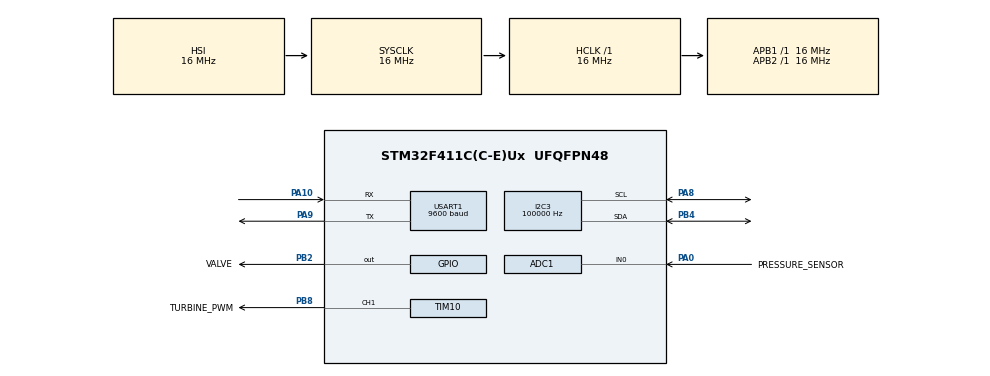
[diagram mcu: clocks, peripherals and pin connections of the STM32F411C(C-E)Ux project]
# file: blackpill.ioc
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ADC1.Channel-0\#ChannelRegularConversion=ADC_CHANNEL_0
ADC1.ContinuousConvMode=ENABLE
ADC1.DMAContinuousRequests=ENABLE
ADC1.NbrOfConversionFlag=1
ADC1.Rank-0\#ChannelRegularConversion=1
ADC1.SamplingTime-0\#ChannelRegularConversion=ADC_SAMPLETIME_3CYCLES
ADC1.master=1
Dma.ADC1.0.Direction=DMA_PERIPH_TO_MEMORY
Dma.ADC1.0.FIFOMode=DMA_FIFOMODE_DISABLE
Dma.ADC1.0.Instance=DMA2_Stream0
Dma.ADC1.0.MemDataAlignment=DMA_MDATAALIGN_HALFWORD
Dma.ADC1.0.MemInc=DMA_MINC_ENABLE
Dma.ADC1.0.Mode=DMA_CIRCULAR
Dma.ADC1.0.PeriphDataAlignment=DMA_PDATAALIGN_HALFWORD
Dma.ADC1.0.PeriphInc=DMA_PINC_DISABLE
Dma.ADC1.0.Priority=DMA_PRIORITY_LOW
Dma.Request0=ADC1
I2C3.ClockSpeed=100000
I2C3.I2C_Mode=I2C_Standard
Mcu.Family=STM32F4
Mcu.Name=STM32F411C(C-E)Ux
Mcu.Package=UFQFPN48
NVIC.DMA2_Stream0_IRQn=true\:0\:0\:false\:false\:true\:false\:true\:true
NVIC.PriorityGroup=NVIC_PRIORITYGROUP_4
NVIC.TIM1_TRG_COM_TIM11_IRQn=true\:0\:0\:false\:false\:true\:true\:true\:true
NVIC.USART1_IRQn=true\:0\:0\:false\:false\:true\:true\:true\:true
PA0-WKUP.GPIO_Label=PRESSURE_SENSOR
PA0-WKUP.Signal=ADCx_IN0
PA10.Mode=Asynchronous
PA10.Signal=USART1_RX
PA8.GPIO_Pu=GPIO_PULLUP
PA8.Mode=I2C
PA8.Signal=I2C3_SCL
PA9.Mode=Asynchronous
PA9.Signal=USART1_TX
PB2.GPIO_Label=VALVE
PB2.Signal=GPIO_Output
PB4.GPIO_Pu=GPIO_PULLUP
PB4.Mode=I2C
PB4.Signal=I2C3_SDA
PB8.GPIO_Label=TURBINE_PWM
PB8.Signal=S_TIM10_CH1
ProjectManager.HeapSize=0x200
ProjectManager.StackSize=0x400
ProjectManager.TargetToolchain=STM32CubeIDE
RCC.AHBFreq_Value=16000000
RCC.APB1Freq_Value=16000000
RCC.APB2Freq_Value=16000000
RCC.CortexFreq_Value=16000000
RCC.HSE_VALUE=25000000
RCC.HSI_VALUE=16000000
RCC.LSE_VALUE=32768
RCC.SYSCLKFreq_VALUE=16000000
RCC.VCOOutputFreq_Value=192000000
SH.ADCx_IN0.0=ADC1_IN0,IN0
SH.S_TIM10_CH1.0=TIM10_CH1,PWM Generation1 CH1
TIM10.Channel=TIM_CHANNEL_1
TIM10.Period=100-1
TIM11.Period=100-1
TIM11.Prescaler=100-1
USART1.BaudRate=9600
USART1.Parity=PARITY_NONE
USART1.VirtualMode=VM_ASYNC
VP_TIM10_VS_ClockSourceINT.Mode=Enable_Timer
VP_TIM11_VS_ClockSourceINT.Mode=Enable_Timer
board=custom

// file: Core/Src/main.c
/* USER CODE BEGIN Header */
/**
  ******************************************************************************
  * @file           : main.c
  * @brief          : Main program body
  ******************************************************************************
  * @attention
  *
  * Copyright (c) 2023 STMicroelectronics.
  * All rights reserved.
  *
  * This software is licensed under terms that can be found in the LICENSE file
  * in the root directory of this software component.
  * If no LICENSE file comes with this software, it is provided AS-IS.
  *
  ******************************************************************************
  */
/* USER CODE END Header */
#include "main.h"

/* USER CODE BEGIN Includes */
#include <string.h>
#include <stdio.h>
#include <PID.h>
/* USER CODE END Includes */

/* USER CODE BEGIN PD */
#define MS_TO_M 60000 // for converting to flow rate from miliseconds to minutes [slm]

// pressure sensor
#define ADC_BUF_LEN 100
#define m 0.0634 //calibration slope for pressure sensor -> m = (bar_max - bar_min)/(V_max-V_min)
#define DEFAULT_MIN_PRESSURE 10
#define DEFAULT_MAX_PRESSURE 50

// turbine control
#define PID_KP 4 //22
#define PID_KI 0.0026 //0.005699
#define PID_KD 0.009 //0.0046

// flow sensor
#define ADDR 64<<1
#define OFFSET_FLOW 32768
#define SCALE_FLOW 120
/* USER CODE END PD */

ADC_HandleTypeDef hadc1;
DMA_HandleTypeDef hdma_adc1;

I2C_HandleTypeDef hi2c3;

TIM_HandleTypeDef htim10;
TIM_HandleTypeDef htim11;

UART_HandleTypeDef huart1;

/* USER CODE BEGIN PV */
// pressure sensor
uint16_t adc_buf[ADC_BUF_LEN]; // TODO: check if DMA is still necessary
float adcSum;
float adcVoltage;
float adcAverage;
float pressureBar;
float pressureCmH2O;
int adcCounter = 0;

// breath control
int breathCounter = 1;
int inhaleTime = 2500;
int exhaleTime = 2000;

// turbine control
pid_data pidData;
float pwmSpeed;

// flow sensor
uint8_t i2cTransmitBuf[2] = {0x10, 0x00};
uint8_t i2cReceiveBuf[2];
float flowSLM;
float flowRate = 1;

// UART communication with Raspberry Pi
uint8_t receive[7];
uint8_t transmit[3];
uint8_t mode;
const uint8_t indicator = 255;
/* USER CODE END PV */

void SystemClock_Config(void);
static void MX_GPIO_Init(void);
static void MX_DMA_Init(void);
static void MX_ADC1_Init(void);
static void MX_TIM10_Init(void);
static void MX_TIM11_Init(void);
static void MX_I2C3_Init(void);
static void MX_USART1_UART_Init(void);
/* USER CODE BEGIN PFP */

void safetyCheck(double pressure, double minPressure, double maxPressure) {
    if (pressure < minPressure) {
        pwmSpeed++;
    } else if (pressure > maxPressure) {
        pwmSpeed--;
    }
}

void pressureMode(void){
		//breath control logic
		if(breathCounter == inhaleTime)	//start of exhale phase
		{
			pwmSpeed = 0;
			__HAL_TIM_SET_COMPARE(&htim10, TIM_CHANNEL_1, (uint16_t)pwmSpeed);
			HAL_GPIO_WritePin(GPIOB, VALVE_Pin, 0);	//open valve
			breathCounter++;

			pid_reset(&pidData);
		}
		else if (breathCounter == (inhaleTime + exhaleTime))	//start of inhale phase
		{
			HAL_GPIO_WritePin(GPIOB, VALVE_Pin, 1);	//close valve
			breathCounter = 0;
		}
		else
		{
			if(breathCounter < inhaleTime)	// in inhale phase
			{
				pwmSpeed = pid_calculate(&pidData, 40, pressureCmH2O);
				__HAL_TIM_SET_COMPARE(&htim10, TIM_CHANNEL_1, (uint16_t)pwmSpeed);
			}
			breathCounter++;
		}
}

void flowMode(void){
	flowRate = (1/inhaleTime)*MS_TO_M; // flow rate = (Volume[L] / Inhale Time[ms]) * 60000
	if(breathCounter == inhaleTime)	//start of exhale phase
			{
				pwmSpeed = 0;
				__HAL_TIM_SET_COMPARE(&htim10, TIM_CHANNEL_1, (uint16_t)pwmSpeed);
				HAL_GPIO_WritePin(GPIOB, VALVE_Pin, 0);	//open valve
				breathCounter++;

				pid_reset(&pidData);
			}
			else if (breathCounter == (inhaleTime + exhaleTime))	//start of inhale phase
			{
				HAL_GPIO_WritePin(GPIOB, VALVE_Pin, 1);	//close valve
				breathCounter = 0;
			}
			else
			{
				if(breathCounter < inhaleTime)	// in inhale phase
				{
					pwmSpeed = pid_calculate(&pidData, flowRate, flowSLM);
					__HAL_TIM_SET_COMPARE(&htim10, TIM_CHANNEL_1, (uint16_t)pwmSpeed);
				}
				breathCounter++;
			}
}

/* USER CODE END PFP */

int main(void)
{

  /* MCU Configuration--------------------------------------------------------*/

  /* Reset of all peripherals, Initializes the Flash interface and the Systick. */
  HAL_Init();

  /* USER CODE BEGIN Init */
  pid_init(&pidData, PID_KP, PID_KI, PID_KD, 0);
  /* USER CODE END Init */

  /* Configure the system clock */
  SystemClock_Config();

  /* Initialize all configured peripherals */
  MX_GPIO_Init();
  MX_DMA_Init();
  MX_ADC1_Init();
  MX_TIM10_Init();
  MX_TIM11_Init();
  MX_I2C3_Init();
  MX_USART1_UART_Init();
  /* USER CODE BEGIN 2 */
  HAL_ADC_Start_DMA(&hadc1, (uint32_t*)adc_buf, ADC_BUF_LEN);
  HAL_TIM_PWM_Start(&htim10, TIM_CHANNEL_1);
  HAL_TIM_Base_Start_IT(&htim11);

  HAL_GPIO_WritePin(GPIOB, VALVE_Pin, 1);

  HAL_I2C_Master_Transmit(&hi2c3, ADDR, i2cTransmitBuf, sizeof(i2cTransmitBuf), HAL_MAX_DELAY);
  transmit[0] = indicator;
  HAL_UART_Transmit_IT(&huart1, transmit, sizeof(transmit));
  HAL_UART_Receive_IT(&huart1, receive, sizeof(receive));
  /* USER CODE END 2 */

  /* Infinite loop */
  while (1)
  {

  }
}

void SystemClock_Config(void)
{
  RCC_OscInitTypeDef RCC_OscInitStruct = {0};
  RCC_ClkInitTypeDef RCC_ClkInitStruct = {0};

  /** Configure the main internal regulator output voltage
  */
  __HAL_RCC_PWR_CLK_ENABLE();
  __HAL_PWR_VOLTAGESCALING_CONFIG(PWR_REGULATOR_VOLTAGE_SCALE1);

  /** Initializes the RCC Oscillators according to the specified parameters
  * in the RCC_OscInitTypeDef structure.
  */
  RCC_OscInitStruct.OscillatorType = RCC_OSCILLATORTYPE_HSI;
  RCC_OscInitStruct.HSIState = RCC_HSI_ON;
  RCC_OscInitStruct.HSICalibrationValue = RCC_HSICALIBRATION_DEFAULT;
  RCC_OscInitStruct.PLL.PLLState = RCC_PLL_NONE;
  if (HAL_RCC_OscConfig(&RCC_OscInitStruct) != HAL_OK)
  {
    Error_Handler();
  }

  /** Initializes the CPU, AHB and APB buses clocks
  */
  RCC_ClkInitStruct.ClockType = RCC_CLOCKTYPE_HCLK|RCC_CLOCKTYPE_SYSCLK
                              |RCC_CLOCKTYPE_PCLK1|RCC_CLOCKTYPE_PCLK2;
  RCC_ClkInitStruct.SYSCLKSource = RCC_SYSCLKSOURCE_HSI;
  RCC_ClkInitStruct.AHBCLKDivider = RCC_SYSCLK_DIV1;
  RCC_ClkInitStruct.APB1CLKDivider = RCC_HCLK_DIV1;
  RCC_ClkInitStruct.APB2CLKDivider = RCC_HCLK_DIV1;

  if (HAL_RCC_ClockConfig(&RCC_ClkInitStruct, FLASH_LATENCY_0) != HAL_OK)
  {
    Error_Handler();
  }
}

static void MX_ADC1_Init(void)
{

  ADC_ChannelConfTypeDef sConfig = {0};

  /** Configure the global features of the ADC (Clock, Resolution, Data Alignment and number of conversion)
  */
  hadc1.Instance = ADC1;
  hadc1.Init.ClockPrescaler = ADC_CLOCK_SYNC_PCLK_DIV2;
  hadc1.Init.Resolution = ADC_RESOLUTION_12B;
  hadc1.Init.ScanConvMode = DISABLE;
  hadc1.Init.ContinuousConvMode = ENABLE;
  hadc1.Init.DiscontinuousConvMode = DISABLE;
  hadc1.Init.ExternalTrigConvEdge = ADC_EXTERNALTRIGCONVEDGE_NONE;
  hadc1.Init.ExternalTrigConv = ADC_SOFTWARE_START;
  hadc1.Init.DataAlign = ADC_DATAALIGN_RIGHT;
  hadc1.Init.NbrOfConversion = 1;
  hadc1.Init.DMAContinuousRequests = ENABLE;
  hadc1.Init.EOCSelection = ADC_EOC_SINGLE_CONV;
  if (HAL_ADC_Init(&hadc1) != HAL_OK)
  {
    Error_Handler();
  }

  /** Configure for the selected ADC regular channel its corresponding rank in the sequencer and its sample time.
  */
  sConfig.Channel = ADC_CHANNEL_0;
  sConfig.Rank = 1;
  sConfig.SamplingTime = ADC_SAMPLETIME_3CYCLES;
  if (HAL_ADC_ConfigChannel(&hadc1, &sConfig) != HAL_OK)
  {
    Error_Handler();
  }

}

static void MX_I2C3_Init(void)
{

  hi2c3.Instance = I2C3;
  hi2c3.Init.ClockSpeed = 100000;
  hi2c3.Init.DutyCycle = I2C_DUTYCYCLE_2;
  hi2c3.Init.OwnAddress1 = 0;
  hi2c3.Init.AddressingMode = I2C_ADDRESSINGMODE_7BIT;
  hi2c3.Init.DualAddressMode = I2C_DUALADDRESS_DISABLE;
  hi2c3.Init.OwnAddress2 = 0;
  hi2c3.Init.GeneralCallMode = I2C_GENERALCALL_DISABLE;
  hi2c3.Init.NoStretchMode = I2C_NOSTRETCH_DISABLE;
  if (HAL_I2C_Init(&hi2c3) != HAL_OK)
  {
    Error_Handler();
  }

}

static void MX_TIM10_Init(void)
{

  TIM_OC_InitTypeDef sConfigOC = {0};

  htim10.Instance = TIM10;
  htim10.Init.Prescaler = 0;
  htim10.Init.CounterMode = TIM_COUNTERMODE_UP;
  htim10.Init.Period = 100-1;
  htim10.Init.ClockDivision = TIM_CLOCKDIVISION_DIV1;
  htim10.Init.AutoReloadPreload = TIM_AUTORELOAD_PRELOAD_DISABLE;
  if (HAL_TIM_Base_Init(&htim10) != HAL_OK)
  {
    Error_Handler();
  }
  if (HAL_TIM_PWM_Init(&htim10) != HAL_OK)
  {
    Error_Handler();
  }
  sConfigOC.OCMode = TIM_OCMODE_PWM1;
  sConfigOC.Pulse = 0;
  sConfigOC.OCPolarity = TIM_OCPOLARITY_HIGH;
  sConfigOC.OCFastMode = TIM_OCFAST_DISABLE;
  if (HAL_TIM_PWM_ConfigChannel(&htim10, &sConfigOC, TIM_CHANNEL_1) != HAL_OK)
  {
    Error_Handler();
  }
  HAL_TIM_MspPostInit(&htim10);

}

static void MX_TIM11_Init(void)
{

  htim11.Instance = TIM11;
  htim11.Init.Prescaler = 100-1;
  htim11.Init.CounterMode = TIM_COUNTERMODE_UP;
  htim11.Init.Period = 100-1;
  htim11.Init.ClockDivision = TIM_CLOCKDIVISION_DIV1;
  htim11.Init.AutoReloadPreload = TIM_AUTORELOAD_PRELOAD_DISABLE;
  if (HAL_TIM_Base_Init(&htim11) != HAL_OK)
  {
    Error_Handler();
  }

}

static void MX_USART1_UART_Init(void)
{

  huart1.Instance = USART1;
  huart1.Init.BaudRate = 9600;
  huart1.Init.WordLength = UART_WORDLENGTH_8B;
  huart1.Init.StopBits = UART_STOPBITS_1;
  huart1.Init.Parity = UART_PARITY_NONE;
  huart1.Init.Mode = UART_MODE_TX_RX;
  huart1.Init.HwFlowCtl = UART_HWCONTROL_NONE;
  huart1.Init.OverSampling = UART_OVERSAMPLING_16;
  if (HAL_UART_Init(&huart1) != HAL_OK)
  {
    Error_Handler();
  }

}

static void MX_DMA_Init(void)
{

  /* DMA controller clock enable */
  __HAL_RCC_DMA2_CLK_ENABLE();

  /* DMA interrupt init */
  /* DMA2_Stream0_IRQn interrupt configuration */
  HAL_NVIC_SetPriority(DMA2_Stream0_IRQn, 0, 0);
  HAL_NVIC_EnableIRQ(DMA2_Stream0_IRQn);

}

static void MX_GPIO_Init(void)
{
  GPIO_InitTypeDef GPIO_InitStruct = {0};

  /* GPIO Ports Clock Enable */
  __HAL_RCC_GPIOA_CLK_ENABLE();
  __HAL_RCC_GPIOB_CLK_ENABLE();

  /*Configure GPIO pin Output Level */
  HAL_GPIO_WritePin(VALVE_GPIO_Port, VALVE_Pin, GPIO_PIN_RESET);

  /*Configure GPIO pin : VALVE_Pin */
  GPIO_InitStruct.Pin = VALVE_Pin;
  GPIO_InitStruct.Mode = GPIO_MODE_OUTPUT_PP;
  GPIO_InitStruct.Pull = GPIO_NOPULL;
  GPIO_InitStruct.Speed = GPIO_SPEED_FREQ_LOW;
  HAL_GPIO_Init(VALVE_GPIO_Port, &GPIO_InitStruct);

}

/* USER CODE BEGIN 4 */
void HAL_TIM_PeriodElapsedCallback(TIM_HandleTypeDef* htim)
{
	if (htim == &htim11) //timer 11 measures 1ms intervals
	{
		safetyCheck(pressureCmH2O, DEFAULT_MIN_PRESSURE, DEFAULT_MAX_PRESSURE);
		HAL_I2C_Master_Receive(&hi2c3, ADDR, i2cReceiveBuf, sizeof(i2cReceiveBuf), HAL_MAX_DELAY);
		signed int res = (i2cReceiveBuf[0] << 8) | i2cReceiveBuf[1];
		flowSLM = (res - OFFSET_FLOW) / SCALE_FLOW;
//		if(mode == 0) flowMode();
		pressureMode();
	}
}

// Pressure sensor callback
void HAL_ADC_ConvCpltCallback(ADC_HandleTypeDef* hadc)
{
	uint32_t adcValue = HAL_ADC_GetValue(&hadc1);
	adcSum += adcValue;
	adcCounter++;

	if(adcCounter == ADC_BUF_LEN){
		adcAverage = adcSum / ADC_BUF_LEN;
		adcVoltage = (adcAverage / hadc1.Instance->HTR) * 3.3;
		pressureBar = m * adcVoltage; // bar = m * measured + b 	m = (bar_max - bar_min)/(V_max-V_min)	b = bar_min=m*V_min
		pressureCmH2O = pressureBar * 1019.71621;
		adcSum = 0;
		adcCounter = 0;
	}
}
// UART receive interrupt handler
void HAL_UART_TxCpltCallback(UART_HandleTypeDef *huart) {
	transmit[1] = (uint8_t) flowSLM;
	transmit[2] = (uint8_t) pressureCmH2O;
	transmit[0] = 255; //remove
	//HAL_UART_Transmit_IT(&huart1, &indicator, 1);
	HAL_UART_Transmit_IT(&huart1, transmit, sizeof(transmit));
	//transmit[0] = 0; //remove
}

void HAL_UART_RxCpltCallback(UART_HandleTypeDef *huart) {
	HAL_UART_Receive_IT(&huart1, receive, 1);
	if(receive[0] == indicator) HAL_UART_Receive_IT(&huart1, receive, sizeof(receive));
	//Do dopracowania
}

/* USER CODE END 4 */

void Error_Handler(void)
{
  __disable_irq();
  while (1)
  {
  }
}
